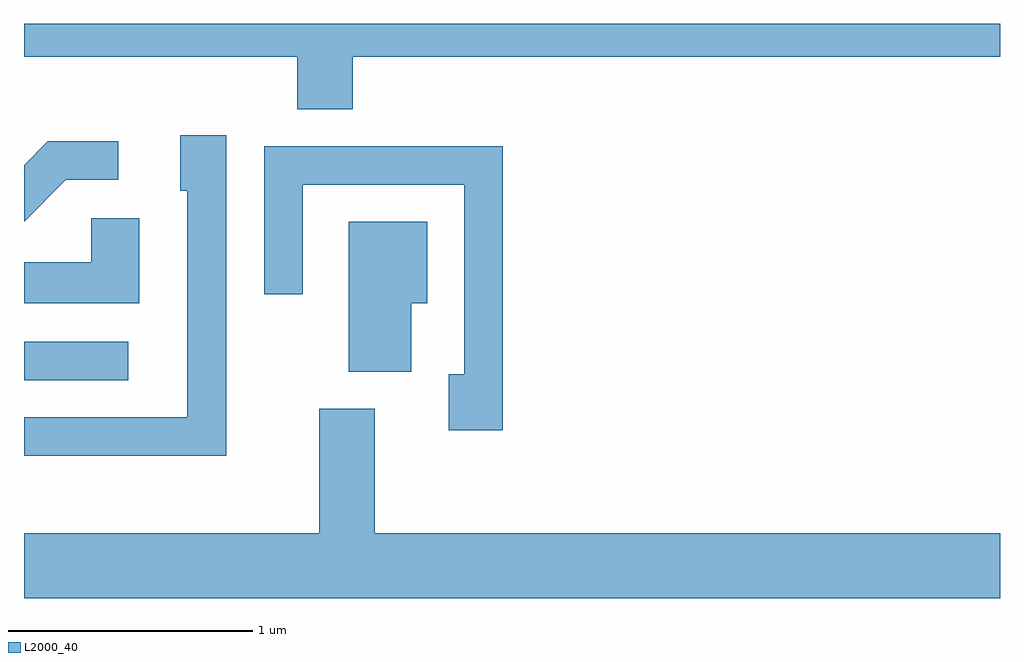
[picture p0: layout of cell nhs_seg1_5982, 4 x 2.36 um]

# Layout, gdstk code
import gdstk
lib = gdstk.Library(unit=1e-6, precision=1e-09)
def R(c, l, rs):  # rectangles x0, y0, x1, y1
    for r in rs: c.add(gdstk.rectangle(r[:2], r[2:], *l))
def P(c, l, *ps):  # polygons
    for p in ps: c.add(gdstk.Polygon(p, *l))
L2000_40 = (2000, 40)

nhs_seg1_5982 = lib.new_cell('nhs_seg1_5982')
R(nhs_seg1_5982, L2000_40, [(365.611,898.251,366.038,898.409)])
P(nhs_seg1_5982, L2000_40, [(366.959,899.576),(369.611,899.576),(369.611,899.712),(365.611,899.712),(365.611,899.576),(366.731,899.576),(366.731,899.361),(366.959,899.361)],
  [(366.439,899.254),(366.251,899.254),(366.251,899.026),(366.281,899.026),(366.281,898.099),(365.611,898.099),(365.611,897.941),(366.439,897.941)],
  [(365.782,899.071),(365.998,899.071),(365.998,899.229),(365.709,899.229),(365.611,899.131),(365.611,898.9)],
  [(367.574,899.209),(366.596,899.209),(366.596,898.603),(366.754,898.603),(366.754,899.051),(367.416,899.051),(367.416,898.274),(367.351,898.274),(367.351,898.046),(367.574,898.046)],
  [(366.084,898.914),(365.886,898.914),(365.886,898.734),(365.611,898.734),(365.611,898.566),(366.084,898.566)],
  [(367.199,898.566),(367.264,898.566),(367.264,898.899),(366.941,898.899),(366.941,898.286),(367.199,898.286)],
  [(369.611,897.624),(367.049,897.624),(367.049,898.134),(366.821,898.134),(366.821,897.624),(365.611,897.624),(365.611,897.356),(369.611,897.356)])

lib.write_gds('nhs_seg1_5982.gds')
